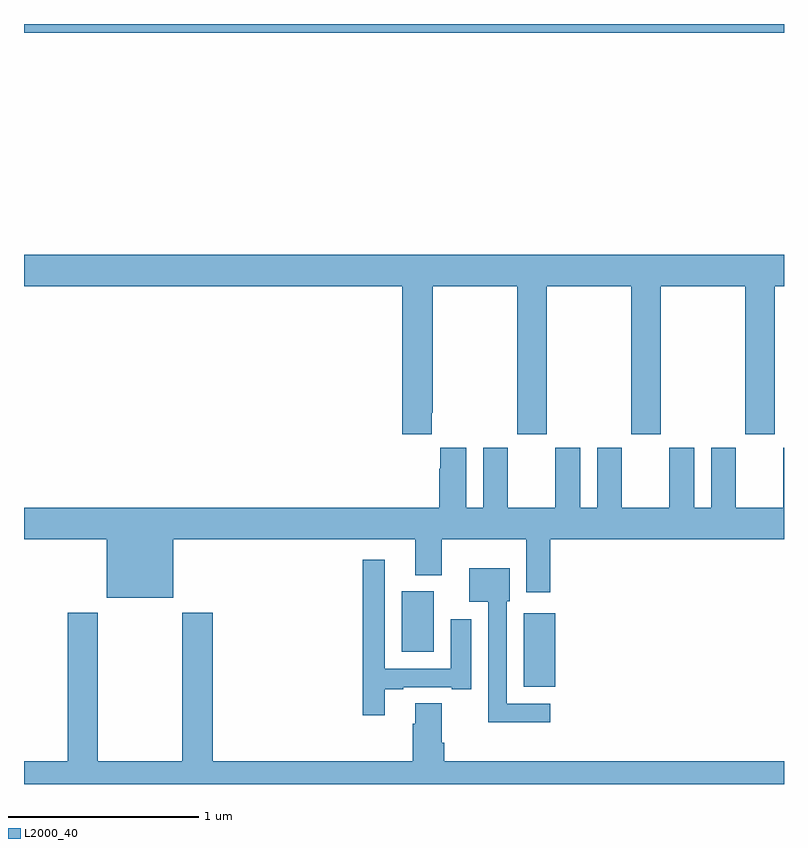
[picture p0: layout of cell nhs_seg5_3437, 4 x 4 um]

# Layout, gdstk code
import gdstk
lib = gdstk.Library(unit=1e-6, precision=1e-09)
def R(c, l, rs):  # rectangles x0, y0, x1, y1
    for r in rs: c.add(gdstk.rectangle(r[:2], r[2:], *l))
def P(c, l, *ps):  # polygons
    for p in ps: c.add(gdstk.Polygon(p, *l))
L2000_40 = (2000, 40)

nhs_seg5_3437 = lib.new_cell('nhs_seg5_3437')
R(nhs_seg5_3437, L2000_40, [(315.629,861.311,315.796,861.697), (314.987,861.494,315.157,861.814), (313,864.752,317,864.799)])
P(nhs_seg5_3437, L2000_40, [(315.145,862.753),(315.15,862.753),(315.15,863.42),(315.595,863.42),(315.595,862.641),(315.75,862.641),(315.75,863.42),(316.195,863.42),(316.195,862.641),(316.35,862.641),(316.35,863.42),(316.795,863.42),(316.795,862.641),(316.95,862.641),(316.95,863.42),(317,863.42),(317,863.584),(313,863.584),(313,863.42),(314.99,863.42),(314.99,862.641),(315.145,862.641)],
  [(313.786,862.088),(315.059,862.088),(315.059,861.899),(315.199,861.899),(315.199,862.088),(315.644,862.088),(315.644,861.807),(315.77,861.807),(315.77,862.088),(317,862.088),(317,862.57),(316.997,862.57),(316.997,862.252),(316.747,862.252),(316.747,862.57),(316.616,862.57),(316.616,862.252),(316.528,862.252),(316.528,862.57),(316.397,862.57),(316.397,862.252),(316.147,862.252),(316.147,862.57),(316.016,862.57),(316.016,862.252),(315.928,862.252),(315.928,862.57),(315.797,862.57),(315.797,862.252),(315.547,862.252),(315.547,862.57),(315.416,862.57),(315.416,862.252),(315.328,862.252),(315.328,862.57),(315.191,862.57),(315.191,862.457),(315.185,862.457),(315.185,862.252),(313,862.252),(313,862.088),(313.436,862.088),(313.436,861.779),(313.786,861.779)],
  [(314.899,861.297),(314.995,861.297),(314.995,861.309),(315.251,861.309),(315.251,861.297),(315.355,861.297),(315.355,861.667),(315.245,861.667),(315.245,861.405),(314.898,861.405),(314.898,861.979),(314.782,861.979),(314.782,861.162),(314.899,861.162)],
  [(315.769,861.222),(315.54,861.222),(315.54,861.762),(315.556,861.762),(315.556,861.934),(315.344,861.934),(315.344,861.758),(315.444,861.758),(315.444,861.125),(315.769,861.125)],
  [(317,860.92),(315.212,860.92),(315.212,861.016),(315.199,861.016),(315.199,861.224),(315.059,861.224),(315.059,861.116),(315.047,861.116),(315.047,860.92),(313.994,860.92),(313.994,861.7),(313.834,861.7),(313.834,860.92),(313.389,860.92),(313.389,861.7),(313.229,861.7),(313.229,860.92),(313,860.92),(313,860.799),(317,860.799)])

lib.write_gds('nhs_seg5_3437.gds')
